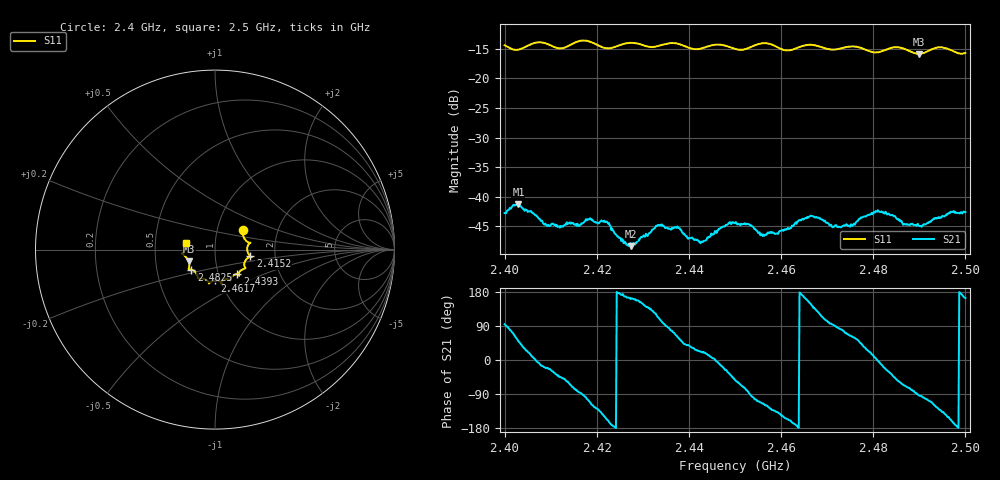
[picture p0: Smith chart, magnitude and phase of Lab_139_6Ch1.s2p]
# Hz S RI R 50
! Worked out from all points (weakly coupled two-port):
!   601 points, 2.4 GHz to 2.5 GHz, reference 50 ohm
!   highest |S21| = -41.28 dB at 2.403 GHz (marker M1); lowest = -48.3 dB at 2.4275 GHz (marker M2)
!   lowest |S11| = -15.9 dB at 2.4898 GHz (marker M3), VSWR 1.38, Z = 36.9 - j4.9 ohm
!   |S11| at or under -10 dB: start of sweep to end of sweep
!   S12 and S22 are empty: the file has one direction only
!   S11 on the Smith chart (normalised r, x): 2.4 GHz: 1.33, +0.30; 2.4152 GHz: 1.48, -0.11; 2.4393 GHz: 1.23, -0.35; 2.4617 GHz: 0.94, -0.33; 2.4825 GHz: 0.75, -0.17; 2.5 GHz: 0.72, +0.05
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2.4e9  0.1555 0.1096  -0.000565 0.00728  0 0  0 0
2.403e9  0.1636 0.0614  0.00554 0.00662  0 0  0 0
2.408833e9  0.1945 0.0374  0.00558 -0.00204  0 0  0 0
2.412167e9  0.1791 0.00095  0.00399 -0.00405  0 0  0 0
2.415167e9  0.1961 -0.0367  0.00132 -0.00567  0 0  0 0
2.416667e9  0.204 -0.0423  0.00012 -0.00597  0 0  0 0
2.422167e9  0.1677 -0.0642  -0.0057 -0.00241  0 0  0 0
2.4275e9  0.1703 -0.1037  -0.00366 0.00115  0 0  0 0
2.433333e9  0.1328 -0.1328  -0.0022 0.00536  0 0  0 0
2.4375e9  0.1342 -0.1438  0.0027 0.00493  0 0  0 0
2.439333e9  0.1238 -0.1379  0.00355 0.00303  0 0  0 0
2.443e9  0.0911 -0.1555  0.00391 0.00139  0 0  0 0
2.45e9  0.0668 -0.1644  0.00361 -0.00476  0 0  0 0
2.456e9  0.038 -0.1942  -0.00197 -0.00424  0 0  0 0
2.461667e9  0.000887 -0.1721  -0.00498 -0.00197  0 0  0 0
2.466667e9  -0.0339 -0.1888  -0.00558 0.00407  0 0  0 0
2.472667e9  -0.075 -0.1611  0.000731 0.00552  0 0  0 0
2.4825e9  -0.1325 -0.1109  0.00674 -0.00261  0 0  0 0
2.483333e9  -0.1397 -0.1101  0.00625 -0.00362  0 0  0 0
2.489833e9  -0.1473 -0.0648  -0.000324 -0.00569  0 0  0 0
2.4945e9  -0.1812 -0.0224  -0.00446 -0.00503  0 0  0 0
2.5e9  -0.1598 0.0353  -0.00712 0.00213  0 0  0 0
